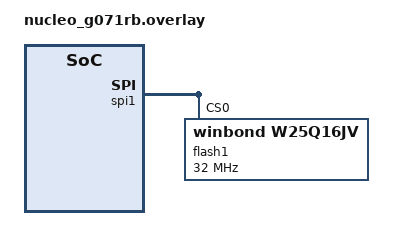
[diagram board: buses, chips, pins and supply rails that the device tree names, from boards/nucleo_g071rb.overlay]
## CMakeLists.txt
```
# SPDX-License-Identifier: Apache-2.0

cmake_minimum_required(VERSION 3.20.0)

find_package(Zephyr REQUIRED HINTS $ENV{ZEPHYR_BASE})
project(hello_world)

target_sources(app PRIVATE src/main.c src/tt_boot_fs.c)
```

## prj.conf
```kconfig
# nothing here

CONFIG_LOG=y
CONFIG_LOG_BACKEND_UART=y
```

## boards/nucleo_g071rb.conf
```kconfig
CONFIG_GPIO=y
CONFIG_FLASH=y
CONFIG_SPI=y
CONFIG_SPI_NOR=y

CONFIG_BOOTLOADER_MCUBOOT=y
CONFIG_MCUBOOT_SIGNATURE_KEY_FILE="bootloader/mcuboot/root-rsa-2048.pem"
CONFIG_REBOOT=y

CONFIG_SHELL=y
```

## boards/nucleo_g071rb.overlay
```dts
#include <mem.h>

/ {
    chosen {
        zephyr,code-partition = &slot0_partition;
    };

    aliases {
		mcuboot-button0 = &user_button;
		mcuboot-led0 = &green_led_1;
	};
};

&spi1 {

    /*
     * pinctrl-0 is identical to the default, so this is just informative.
     * The line below could be modified for different, non-default board settings.
     *
     * Using the w25q16 
     * https://www.adafruit.com/product/5632
     *
     * and nucelo_g071rb
     * https://www.st.com/en/evaluation-tools/nucleo-g071rb.html
     *
     * wire as follows:
     *
     * w25q16 | nucleo_g071rb | pin label | pinctrl name
     * -------------------------------------------------
     * G      | CN7 pin 20    | N/A       | N/A
     * 3V     | CN7 pin 16    | N/A       | N/A
     * CS     | CN10 pin 17   | PB0       | spi1_nss_pb0
     * CLK    | CN10 pin 11   | PA5       | spi1_sck_pa5
     * IO1    | CN10 pin 13   | PA6       | spi1_miso_pa6
     * IO0    | CN10 pin 15   | PA7       | spi1_mosi_pa7
     * IO2    | N/C           | N/A       | N/A
     * IO3    | N/C           | N/A       | N/A
     */
    /* pinctrl-0 = <&spi1_nss_pb0 &spi1_sck_pa5 &spi1_miso_pa6 &spi1_mosi_pa7>; */

    /*
     * This line is also redundant, because this particular chip does SPI CS in hardware.
     * The gpiob 0 pin corresponds to the named pb0 pin above.
     */
    /* cs-gpios = <&gpiob 0 GPIO_ACTIVE_LOW>; */

    flash1: flash@0 {
        /* base properties */
        compatible = "winbond,w25q16jv", "jedec,spi-nor";
        status = "okay";

        /* spi-device properties */
        reg = <0>;
        spi-max-frequency = <31999999>; /* spi_ll_stm32.c driver does not properly use MIN(spi-max-frequency, bus-frequency) */
        spi-cpol;
        spi-cpha;

        /* jedec,spi-nor properties */
        size = <DT_SIZE_M(16)>;

        /* jedec,spi-nor-common properties */
        has-dpd;
        t-enter-dpd = <3000>;
        t-exit-dpd = <3000>;

        /* jedec,jesd216 properties */
        jedec-id = [ef 40 15];
    };
};

/*
 * Note: I needed to also modify the layout of this board in the mcuboot repository.
 * ${WEST_TOPDIR}/bootloader/mcuboot/boot/zephyr/boards/nucleo_g071rb.overlay
 *
 */
&flash0 {
    partitions {
        compatible = "fixed-partitions";
        #address-cells = <1>;
        #size-cells = <1>;

        boot_partition: partition@0 {
            label = "mcuboot";
            reg = <0x00000000 DT_SIZE_K(32)>;
            read-only;
        };

        slot0_partition: partition@8000 {
            label = "image-0";
            reg = <0x00008000 DT_SIZE_K(48)>;
        };

        slot1_partition: partition@14000 {
            label = "image-1";
            reg = <0x00014000 DT_SIZE_K(48)>;
        };
    };
};
```

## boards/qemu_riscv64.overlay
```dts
&uart0 {
    status = "okay";
    loguart0 {
        compatible = "zephyr,log-uart";
        status = "okay";
    };
};
```

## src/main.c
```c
/*
 * Copyright (c) 2012-2014 Wind River Systems, Inc.
 *
 * SPDX-License-Identifier: Apache-2.0
 */

#include <stdio.h>
#include <stdlib.h>

#include <zephyr/kernel.h>
#include <zephyr/drivers/gpio.h>

void button_pressed(const struct device *dev, struct gpio_callback *cb, uint32_t pins)
{
	printk("Button pressed at %" PRIu32 "\n", k_cycle_get_32());
}

int main(void)
{
	printf("Hello World! %s\n", CONFIG_BOARD_TARGET);

	/*
	 * Register a callback for when the user button is pressed
	 * This can really be any kind of asynchronous event handler.
	 */
	int ret;
	static struct gpio_callback button_cb_data;
	static const struct gpio_dt_spec button = GPIO_DT_SPEC_GET_OR(DT_ALIAS(sw0), gpios, {0});

	ret = gpio_pin_configure_dt(&button, GPIO_INPUT);
	if (ret < 0) {
		errno = -ret;
		perror("gpio_pin_configure_dt");
		return EXIT_FAILURE;
	}

	ret = gpio_pin_interrupt_configure_dt(&button, GPIO_INT_EDGE_TO_ACTIVE);
	if (ret < 0) {
		errno = -ret;
		perror("gpio_pin_interrupt_configure_dt");
		return EXIT_FAILURE;
	}

	gpio_init_callback(&button_cb_data, button_pressed, BIT(button.pin));
	ret = gpio_add_callback(button.port, &button_cb_data);
	if (ret < 0) {
		errno = -ret;
		perror("gpio_add_callback");
		return EXIT_FAILURE;
	}

	return EXIT_SUCCESS;
}
```

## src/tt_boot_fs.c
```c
// #include <arc_defines.h>
#include "tt_boot_fs.h"

uint32_t get_next_fd_addr(uint32_t last_fd_addr)
{
	return (last_fd_addr + sizeof(tt_boot_fs_fd));
}

// Setups hardware abstraction layer (HAL) callbacks, initializes HEAD fd
int tt_boot_fs_mount(tt_boot_fs *tt_boot_fs, tt_boot_fs_read hal_read, tt_boot_fs_write hal_write,
		     tt_boot_fs_erase hal_erase)
{
	tt_boot_fs->hal_spi_read_f = hal_read;
	tt_boot_fs->hal_spi_write_f = hal_write;
	tt_boot_fs->hal_spi_erase_f = hal_erase;

	return TT_BOOT_FS_OK;
}

#ifndef TT_BOOT_FS_RDONLY

// Allocates new file descriptor on SPI device
// Writes associated data to correct address on SPI device
int tt_boot_fs_add_file(tt_boot_fs *tt_boot_fs, tt_boot_fs_fd fd, uint8_t *image_data_src,
			bool isFailoverEntry, bool isSecurityBinaryEntry)
{
	uint32_t curr_fd_addr;

	// Failover image has specific file descriptor location (BOOT_START + DESC_REGION_SIZE)
	if (isFailoverEntry) {
		curr_fd_addr = TT_BOOT_FS_FAILOVER_HEAD_ADDR;
	} else if (isSecurityBinaryEntry) {
		curr_fd_addr = TT_BOOT_FS_SECURITY_BINARY_FD_ADDR;
	} else {
		// Regular file descriptor
		tt_boot_fs_fd head = {0};
		curr_fd_addr = TT_BOOT_FS_FD_HEAD_ADDR;

		tt_boot_fs->hal_spi_read_f(TT_BOOT_FS_FD_HEAD_ADDR, sizeof(tt_boot_fs_fd),
					   (uint8_t *)&head);

		// Traverse until we find an invalid file descriptor entry in SPI device array
		while (head.flags.f.invalid == 0) {
			curr_fd_addr = get_next_fd_addr(curr_fd_addr);
			tt_boot_fs->hal_spi_read_f(curr_fd_addr, sizeof(tt_boot_fs_fd),
						   (uint8_t *)&head);
		}
	}

	tt_boot_fs->hal_spi_write_f(curr_fd_addr, sizeof(tt_boot_fs_fd), (uint8_t *)&fd);

	// Now copy total image size from image_data_src pointer into the SPI device address
	// specified Total image size = image_size + signature_size (security) + padding (future
	// work)
	uint32_t total_image_size = fd.flags.f.image_size + fd.security_flags.f.signature_size;
	tt_boot_fs->hal_spi_write_f(fd.spi_addr, total_image_size, image_data_src);

	return TT_BOOT_FS_OK;
}

#endif

#if 0
tt_checksum_res_t calculate_and_compare_checksum(uint8_t *data, uint32_t num_bytes, uint32_t expected, bool skip_checksum) {
  if (!skip_checksum) {
    WRITE_RESET_UNIT(SCRATCH_3, 0xc0000000);

    // Always read 1 fewer word, and handle the 4 possible alignment cases outside the loop
    const uint32_t num_dwords = (num_bytes / sizeof(uint32_t)) - 1;

    uint32_t calculated_checksum = 0;
    uint32_t *data_as_dwords = (uint32_t *)data;
    for (uint32_t i = 0; i < num_dwords; i++) {
      calculated_checksum += *data_as_dwords++;
    }

    switch (num_bytes % 4) {
      case 3: calculated_checksum += *data_as_dwords & 0x000000ff; break;
      case 2: calculated_checksum += *data_as_dwords & 0x0000ffff; break;
      case 1: calculated_checksum += *data_as_dwords & 0x00ffffff; break;
      case 0: calculated_checksum += *data_as_dwords & 0xffffffff; break;
    }

    RESET_UNIT_BOOTROM_MISC_STATUS_reg_u bootrom_status;
    bootrom_status.val = READ_RESET_UNIT(BOOTROM_MISC_STATUS);
    if (calculated_checksum != expected) {
      WRITE_RESET_UNIT(SCRATCH_5, calculated_checksum);
      WRITE_RESET_UNIT(SCRATCH_6, num_bytes);
      WRITE_RESET_UNIT(SCRATCH_7, expected);

      bootrom_status.f.tt_boot_fs_checksum_fail = 1;
      WRITE_RESET_UNIT(BOOTROM_MISC_STATUS, bootrom_status.val);

      return TT_BOOT_FS_CHK_FAIL;
    }

    bootrom_status.f.tt_boot_fs_checksum_fail = 0;
    WRITE_RESET_UNIT(BOOTROM_MISC_STATUS, bootrom_status.val);
  }

  return TT_BOOT_FS_CHK_OK;
}
#endif
```

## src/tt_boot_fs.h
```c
#ifndef _TT_BOOT_FS_H_
#define _TT_BOOT_FS_H_

#include <stdbool.h>
#include <stdint.h>

#define TT_BOOT_FS_FD_HEAD_ADDR (0x0)
// These defines must change when BOOT_START or DESC_REGION_SIZE change in python toolchain
#define TT_BOOT_FS_SECURITY_BINARY_FD_ADDR (0x3FE0)
#define TT_BOOT_FS_FAILOVER_HEAD_ADDR (0x4000)
#define IMAGE_TAG_SIZE 8

typedef struct {
  uint32_t image_size : 24;
  uint32_t invalid : 1;
  uint32_t executable : 1;
  uint32_t fd_flags_rsvd : 6;
} fd_flags;

typedef union {
  uint32_t val;
  fd_flags f;
} fd_flags_u;

typedef struct {
  uint32_t signature_size : 12;
  uint32_t sb_phase : 8;  // 0 - Phase0A, 1 - Phase0B
} security_fd_flags;

typedef union {
  uint32_t val;
  security_fd_flags f;
} security_fd_flags_u;

// File descriptor
typedef struct {
  uint32_t spi_addr;
  uint32_t copy_dest;
  fd_flags_u flags;
  uint32_t data_crc;
  security_fd_flags_u security_flags;
  uint8_t image_tag[IMAGE_TAG_SIZE];
  uint32_t fd_crc;
} tt_boot_fs_fd;

typedef int (*tt_boot_fs_read)(uint32_t addr, uint32_t size, uint8_t *dst);
typedef int (*tt_boot_fs_write)(uint32_t addr, uint32_t size, uint8_t *src);
typedef int (*tt_boot_fs_erase)(uint32_t addr, uint32_t size);

typedef struct {
  tt_boot_fs_read hal_spi_read_f;
  tt_boot_fs_write hal_spi_write_f;
  tt_boot_fs_erase hal_spi_erase_f;
} tt_boot_fs;

enum { TT_BOOT_FS_OK = 0, TT_BOOT_FS_ERR = -1 };

typedef enum {
  TT_BOOT_FS_CHK_OK,
  TT_BOOT_FS_CHK_FAIL,
} tt_checksum_res_t;

uint32_t get_next_fd_addr(uint32_t last_fd_addr);
int tt_boot_fs_mount(tt_boot_fs *tt_boot_fs, tt_boot_fs_read hal_read, tt_boot_fs_write hal_write, tt_boot_fs_erase hal_erase);
int tt_boot_fs_add_file(tt_boot_fs *tt_boot_fs, tt_boot_fs_fd fd_data, uint8_t *image_data_src, bool isFailoverEntry, bool isSecurityBinaryEntry);
tt_checksum_res_t calculate_and_compare_checksum(uint8_t *data, uint32_t num_bytes, uint32_t expected, bool skip_checksum);

#endif
```
